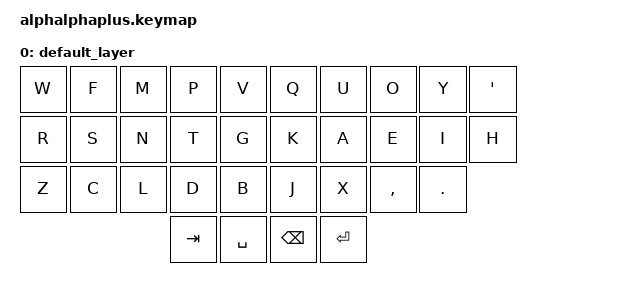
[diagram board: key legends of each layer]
/*
 * Copyright (c) 2020 The ZMK Contributors
 *
 * SPDX-License-Identifier: MIT
 */

#include <behaviors.dtsi>
#include <dt-bindings/zmk/keys.h>

/ {
    keymap {
        compatible = "zmk,keymap";

        default_layer {
            bindings = <
        // ╭─────────────┬─────────────┬─────────────┬─────────────┬─────────────┬─────────────┬─────────────┬─────────────┬─────────────┬─────────────╮
             &kp W         &kp F         &kp M         &kp P         &kp V         &kp Q         &kp U         &kp O         &kp Y         &kp QUOT
             &kp R         &kp S         &kp N         &kp T         &kp G         &kp K         &kp A         &kp E         &kp I         &kp H
                    &kp Z         &kp C         &kp L         &kp D         &kp B         &kp J         &kp X         &kp COMMA     &kp DOT
        // ╰─────────────┴─────────────┬─────────────╮                                                       ╭─────────────┬─────────────┴─────────────╯
                                                       &kp TAB       &kp SPACE     &kp BSPC      &kp ENTER
        //                                           ╰─────────────┴─────────────┴─────────────┴─────────────╯ 
            >;
        };
    };
};
